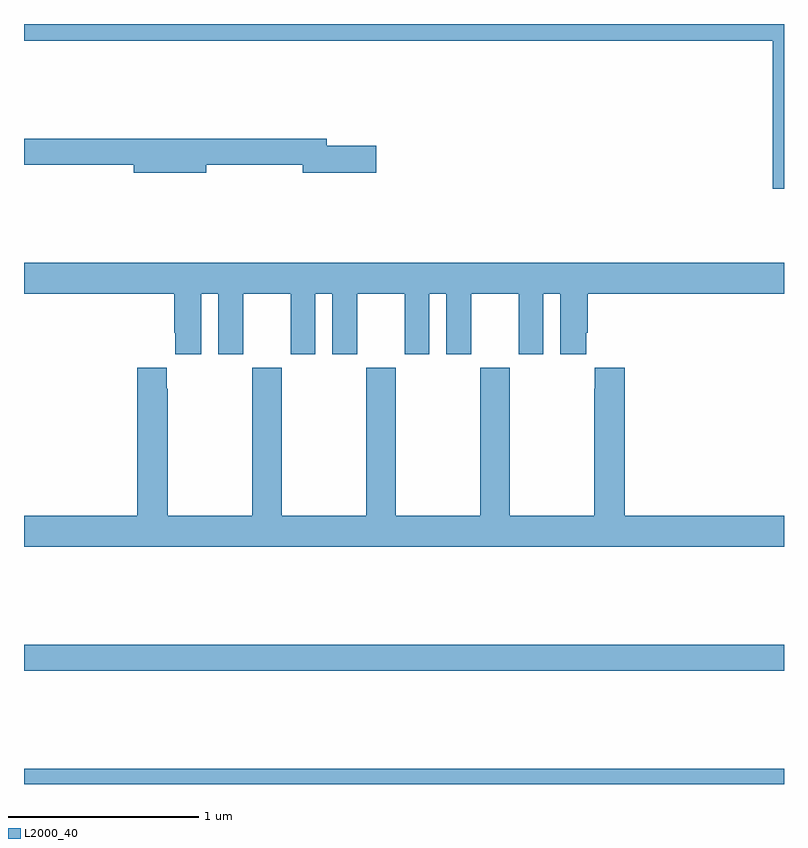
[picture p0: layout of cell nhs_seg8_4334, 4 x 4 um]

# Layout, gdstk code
import gdstk
lib = gdstk.Library(unit=1e-6, precision=1e-09)
def R(c, l, rs):  # rectangles x0, y0, x1, y1
    for r in rs: c.add(gdstk.rectangle(r[:2], r[2:], *l))
def P(c, l, *ps):  # polygons
    for p in ps: c.add(gdstk.Polygon(p, *l))
L2000_40 = (2000, 40)

nhs_seg8_4334 = lib.new_cell('nhs_seg8_4334')
R(nhs_seg8_4334, L2000_40, [(375,1133.9,379,1133.98), (375,1134.496,379,1134.632)])
P(nhs_seg8_4334, L2000_40, [(379,1137.9),(375,1137.9),(375,1137.812),(378.941,1137.812),(378.941,1137.033),(379,1137.033)],
  [(375.958,1137.16),(376.466,1137.16),(376.466,1137.118),(376.855,1137.118),(376.855,1137.26),(376.594,1137.26),(376.594,1137.296),(375,1137.296),(375,1137.16),(375.578,1137.16),(375.578,1137.118),(375.958,1137.118)],
  [(375.934,1136.48),(376.022,1136.48),(376.022,1136.163),(376.153,1136.163),(376.153,1136.48),(376.403,1136.48),(376.403,1136.163),(376.534,1136.163),(376.534,1136.48),(376.622,1136.48),(376.622,1136.163),(376.753,1136.163),(376.753,1136.48),(377.003,1136.48),(377.003,1136.163),(377.134,1136.163),(377.134,1136.48),(377.222,1136.48),(377.222,1136.163),(377.353,1136.163),(377.353,1136.48),(377.603,1136.48),(377.603,1136.163),(377.734,1136.163),(377.734,1136.48),(377.822,1136.48),(377.822,1136.163),(377.959,1136.163),(377.959,1136.275),(377.966,1136.275),(377.966,1136.48),(379,1136.48),(379,1136.644),(375,1136.644),(375,1136.48),(375.791,1136.48),(375.791,1136.275),(375.797,1136.275),(375.797,1136.163),(375.934,1136.163)],
  [(379,1135.312),(378.161,1135.312),(378.161,1136.092),(378.005,1136.092),(378.005,1135.979),(378.001,1135.979),(378.001,1135.312),(377.556,1135.312),(377.556,1136.092),(377.401,1136.092),(377.401,1135.312),(376.956,1135.312),(376.956,1136.092),(376.801,1136.092),(376.801,1135.312),(376.356,1135.312),(376.356,1136.092),(376.201,1136.092),(376.201,1135.312),(375.756,1135.312),(375.756,1135.979),(375.751,1135.979),(375.751,1136.092),(375.596,1136.092),(375.596,1135.312),(375,1135.312),(375,1135.148),(379,1135.148)])

lib.write_gds('nhs_seg8_4334.gds')
